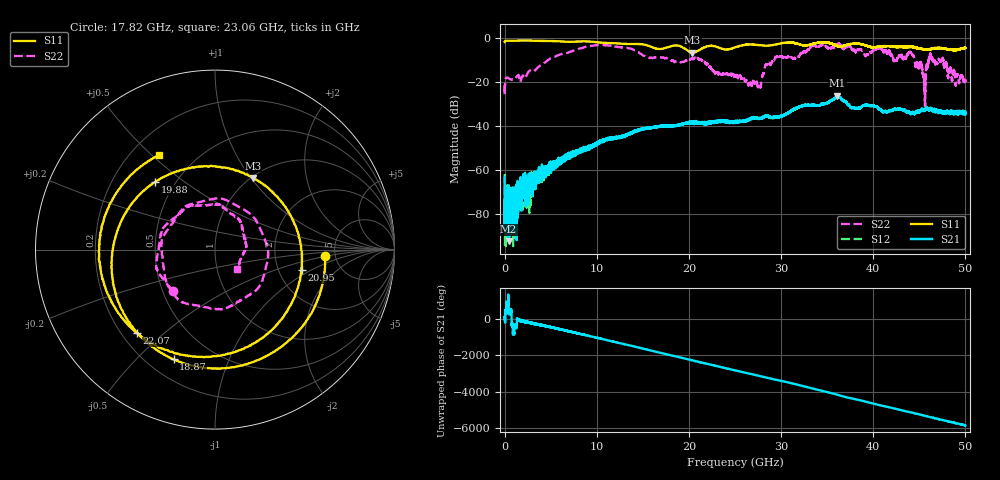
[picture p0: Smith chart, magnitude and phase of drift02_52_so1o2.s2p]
!Created with skrf (http://scikit-rf.org).
# Hz S RI R 50.0
!freq ReS11 ImS11 ReS21 ImS21 ReS12 ImS12 ReS22 ImS22
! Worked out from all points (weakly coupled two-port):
!   10001 points, 300 kHz to 50 GHz, reference 50 ohm
!   highest |S21| = -26.29 dB at 36.12 GHz (marker M1); lowest = -92.3 dB at 425.3 MHz (marker M2)
!   lowest |S11| = -6.9 dB at 20.38 GHz (marker M3), VSWR 2.64, Z = 51 + j51 ohm
!   |S11| at or under -10 dB: nowhere
!   |S22| runs from -31.3 to -2.6 dB; largest |S21 - S12| = 0.0053
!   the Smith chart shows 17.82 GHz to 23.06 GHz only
!   S11 on the Smith chart (normalised r, x): 17.82 GHz: 4.14, -0.51; 18.87 GHz: 0.30, -0.65; 19.88 GHz: 0.39, +0.39; 20.95 GHz: 2.68, -0.82; 22.07 GHz: 0.26, -0.41; 23.06 GHz: 0.31, +0.53
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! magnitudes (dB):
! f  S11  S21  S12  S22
! 300 kHz  -2.1  -63.4  -61.9  -21.7
! 425.3 MHz  -1.4  -92.3  -78.6  -18.4
! 8.335 GHz  -1.7  -51.2  -51.3  -4.7
! 16.67 GHz  -5.2  -40.4  -40.2  -9.0
! 17.82 GHz  -4.2  -40.0  -40.0  -9.7
! 18.87 GHz  -3.7  -39.7  -39.6  -11.0
! 19.88 GHz  -6.0  -38.8  -38.6  -10.0
! 20.38 GHz  -6.9  -38.5  -38.6  -9.7
! 20.95 GHz  -6.1  -38.7  -38.3  -9.3
! 22.07 GHz  -3.9  -38.9  -38.7  -12.3
! 23.06 GHz  -4.3  -38.1  -38.0  -15.7
! 25 GHz  -4.5  -38.3  -38.4  -17.8
! 27.63 GHz  -3.5  -36.6  -36.4  -21.4
! 28.43 GHz  -3.7  -35.5  -35.5  -12.3
! 29.54 GHz  -3.0  -35.9  -36.0  -8.8
! 33.34 GHz  -3.1  -30.6  -30.7  -3.8
! 36.12 GHz  -3.9  -26.3  -26.9  -3.2
! 41.67 GHz  -3.9  -33.2  -33.3  -6.1
! 44.13 GHz  -4.2  -34.4  -34.4  -7.0
! 45.5 GHz  -5.4  -33.1  -32.8  -17.7
! 46.27 GHz  -5.2  -32.5  -32.6  -8.3
! 50 GHz  -4.7  -33.6  -33.6  -19.8
